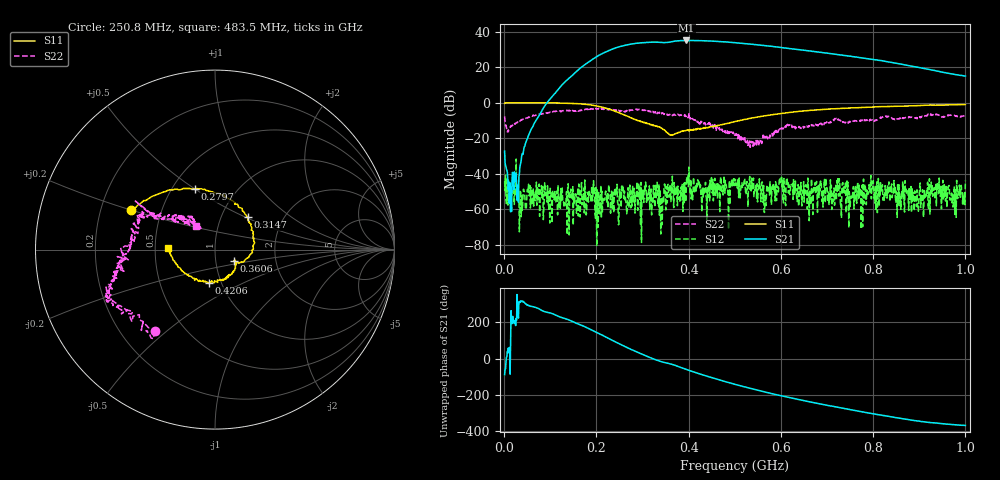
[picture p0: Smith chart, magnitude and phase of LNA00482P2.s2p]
! Created with skrf 1.9.0 (http://scikit-rf.org).
# Hz S RI R 50.0
!freq ReS11 ImS11 ReS21 ImS21 ReS12 ImS12 ReS22 ImS22
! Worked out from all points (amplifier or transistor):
!   1001 points, 1 MHz to 1 GHz, reference 50 ohm
!   highest |S21| = 35.1 dB at 394.6 MHz (marker M1)
!   |S21| within 3 dB of that: 257.2 MHz to 568.6 MHz (311.4 MHz wide, 75.4 % of centre)
!   unconditionally stable (mu >= 1): 244.8 MHz to 306.7 MHz; 306.7 MHz to 400.2 MHz; 401.1 MHz to end of sweep (the widest 3 of 41)
!   at 166.8 MHz: K = 1.30, MAG = 30.7 dB, |S12| = -48.1 dB
!   at 500.5 MHz: K = 1.55, MAG = 34.6 dB, |S12| = -44.0 dB
!   at 1 GHz: K = 1.86, MAG = 24.1 dB, |S12| = -43.7 dB
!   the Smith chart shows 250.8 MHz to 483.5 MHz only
!   S11 on the Smith chart (normalised r, x): 250.8 MHz: 0.33, +0.20; 279.7 MHz: 0.65, +0.50; 314.7 MHz: 1.33, +0.51; 360.6 MHz: 1.23, -0.15; 420.6 MHz: 0.87, -0.34; 483.5 MHz: 0.58, +0.01
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1000000  0.972 -0.000771  0.0019 -0.0437  -0.00612 -0.000962  0.318 0.2666
1.08892e8  0.5231 -0.8491  -0.8505 -1.573  -0.00167 0.000778  0.4452 -0.365
1.67833e8  -0.2236 -0.901  -10.14 -0.4868  -0.00547 -0.00164  0.0281 -0.6209
2.12788e8  -0.6775 -0.3405  -15.14 19.17  -0.000782 -0.000128  -0.2131 -0.6434
2.31769e8  -0.6425 -0.0246  -7.599 30.59  8.11e-05 0.00297  -0.2899 -0.5677
2.5075e8  -0.4693 0.2218  6.616 37.74  -0.00348 0.000232  -0.3367 -0.4548
2.79721e8  -0.1125 0.3389  32.33 32.87  0.00147 0.000487  -0.5711 -0.2847
3.14686e8  0.1823 0.1805  50.19 6.36  -0.00379 0.00265  -0.5773 -0.1486
3.34666e8  0.2128 0.00874  49.73 -10.4  -0.000867 0.00088  -0.5231 -0.0597
3.6064e8  0.1073 -0.0616  45.44 -25.24  -0.00168 0.00227  -0.4579 0.1019
3.75625e8  0.1173 -0.0815  41.4 -37.3  -0.000523 0.00117  -0.4258 0.179
3.94606e8  0.0765 -0.1471  29.09 -49.16  0.00184 0.00235  -0.3824 0.1856
4.2058e8  -0.0326 -0.1878  8.3 -56  -0.00294 0.00552  -0.2135 0.1958
4.49551e8  -0.1732 -0.128  -13.46 -53.06  0.00438 0.00656  -0.17 0.1438
4.83517e8  -0.2638 0.0102  -32.86 -39.84  -0.00114 0.00362  -0.1081 0.1306
5.005e8  -0.2804 0.103  -38.9 -30.89  0.00192 0.00598  -0.0708 0.106
5.4046e8  -0.2201 0.3144  -43.09 -9.353  0.00722 0.0026  -0.0848 -0.0138
5.88412e8  -0.0391 0.4781  -36.13 11.29  0.00584 -0.00165  -0.1115 -0.0892
6.67333e8  0.3245 0.526  -14.08 24.44  0.00331 0.000523  -0.2193 -0.0597
7.53247e8  0.6212 0.3626  4.043 19.83  -0.000696 0.00216  -0.2943 -0.016
8.34166e8  0.78 0.1431  10.43 9.611  -0.00513 0.00302  -0.4114 -0.00393
1e9  0.814 -0.3857  5.671 -0.6925  0.00303 0.00576  -0.2949 0.3085
